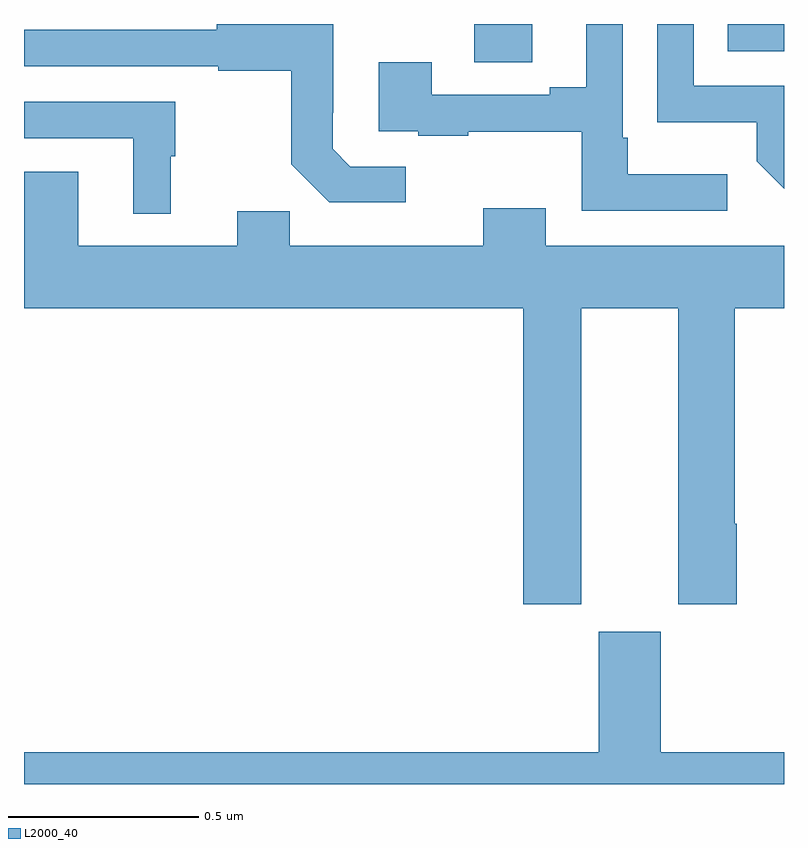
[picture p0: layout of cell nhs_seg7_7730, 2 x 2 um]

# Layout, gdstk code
import gdstk
lib = gdstk.Library(unit=1e-6, precision=1e-09)
def R(c, l, rs):  # rectangles x0, y0, x1, y1
    for r in rs: c.add(gdstk.rectangle(r[:2], r[2:], *l))
def P(c, l, *ps):  # polygons
    for p in ps: c.add(gdstk.Polygon(p, *l))
L2000_40 = (2000, 40)

nhs_seg7_7730 = lib.new_cell('nhs_seg7_7730')
R(nhs_seg7_7730, L2000_40, [(216.185,1031.899,216.337,1032), (216.852,1031.928,217,1032)])
P(nhs_seg7_7730, L2000_40, [(216.004,1031.625),(215.859,1031.625),(215.812,1031.672),(215.812,1031.767),(215.814,1031.767),(215.814,1032),(215.507,1032),(215.507,1031.985),(215,1031.985),(215,1031.889),(215.511,1031.889),(215.511,1031.877),(215.703,1031.877),(215.703,1031.631),(215.803,1031.531),(216.004,1031.531)],
  [(217,1031.838),(216.762,1031.838),(216.762,1032),(216.666,1032),(216.666,1031.741),(216.928,1031.741),(216.928,1031.639),(217,1031.566)],
  [(216.85,1031.605),(216.589,1031.605),(216.589,1031.701),(216.576,1031.701),(216.576,1032),(216.479,1032),(216.479,1031.833),(216.383,1031.833),(216.383,1031.814),(216.073,1031.814),(216.073,1031.899),(215.933,1031.899),(215.933,1031.718),(216.037,1031.718),(216.037,1031.706),(216.169,1031.706),(216.169,1031.717),(216.468,1031.717),(216.468,1031.508),(216.85,1031.508)],
  [(215.386,1031.652),(215.398,1031.652),(215.398,1031.796),(215,1031.796),(215,1031.7),(215.288,1031.7),(215.288,1031.501),(215.386,1031.501)],
  [(216.466,1031.252),(216.722,1031.252),(216.722,1030.473),(216.875,1030.473),(216.875,1030.685),(216.87,1030.685),(216.87,1031.252),(217,1031.252),(217,1031.416),(216.373,1031.416),(216.373,1031.515),(216.209,1031.515),(216.209,1031.416),(215.699,1031.416),(215.699,1031.507),(215.561,1031.507),(215.561,1031.416),(215.143,1031.416),(215.143,1031.611),(215,1031.611),(215,1031.252),(216.314,1031.252),(216.314,1030.473),(216.466,1030.473)],
  [(217,1030.084),(216.676,1030.084),(216.676,1030.401),(216.512,1030.401),(216.512,1030.084),(215,1030.084),(215,1030),(217,1030)])

lib.write_gds('nhs_seg7_7730.gds')
